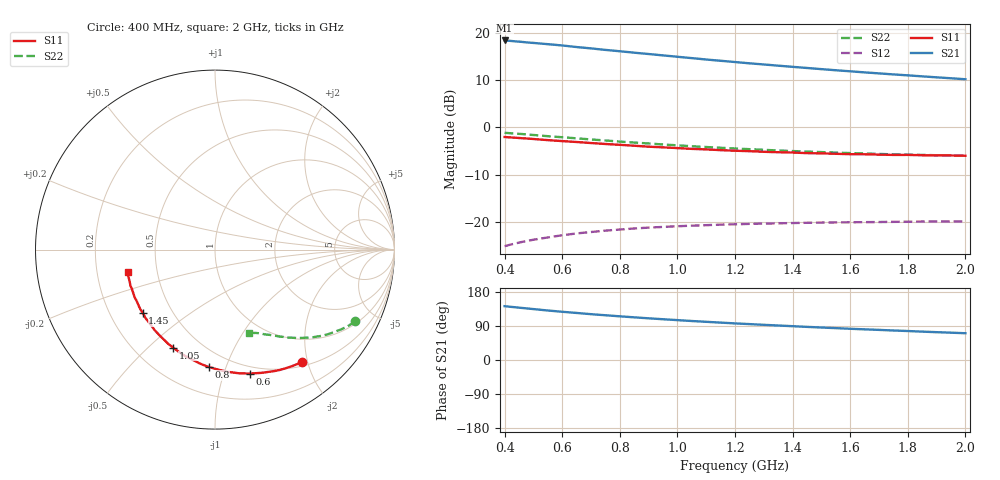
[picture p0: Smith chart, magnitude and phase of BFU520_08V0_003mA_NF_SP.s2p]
! Filename:  P:\Prog\Test\Noise\ATS_data\Testdata_Net\06 Compressed Noise after Statistics\BFU520_APG2013_37_A05_08p0V_003mA_NF_CM01_D.sf
! Date/Time: Fri 26/Apr/2013 14:13:12
! BFU520_APG2013_37_A05_08p0V_1to20mA_NF_CM01_Bias3_R.sf
! Noise Parameter Data File
! BFU520_APG2013_37_A05_08p0V_1to20mA_NF_CM01
! Date/time: Tue Apr 23 18:16:22 2013
! VAR V_out= 8.000000
! VAR I_out= 2.995000
! VAR V_in= 0.812300
! VAR I_in= 0.032505
! Device data file deembeded for feedlines and parallel
! Original file: \06 Compressed Noise after Statistics\BFU520_APG2013_37_A05_08p0V_003mA_NF_CM01_R.sf
! Feed-files: PR047V01_250413_Feed1.s2p, PR047V01_250413_Feed2.s2p
! Parallel-file: PR047V01_250413_Par.s2p
# MHz S MA R 50
!  Freq-MHz  S11-mag  S11-arg  S21-mag  S21-arg  S12-mag  S12-arg  S22-mag  S22-arg
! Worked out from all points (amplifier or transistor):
!   37 points, 400 MHz to 2 GHz, reference 50 ohm
!   highest |S21| = 18.4 dB at 400 MHz (marker M1)
!   |S21| within 3 dB of that: start of sweep to 922.9 MHz
!   unconditionally stable (mu >= 1): nowhere
!   at 500 MHz: K = 0.21, MSG = 20.8 dB, |S12| = -23.7 dB
!   at 1.1 GHz: K = 0.45, MSG = 17.5 dB, |S12| = -20.7 dB
!   at 2 GHz: K = 0.80, MSG = 15.0 dB, |S12| = -19.9 dB
!   lowest NFmin = 0.58 dB at 420 MHz
!   S11 on the Smith chart (normalised r, x): 400 MHz: 0.57, -1.91; 600 MHz: 0.43, -1.23; 800 MHz: 0.38, -0.87; 1.05 GHz: 0.36, -0.60; 1.45 GHz: 0.34, -0.34; 2 GHz: 0.34, -0.11
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400  0.7922 -52.2  8.303 142.0  0.05561 60.9  0.8773 -27.1
440  0.7773 -56.9  8.116 138.9  0.05965 58.6  0.8599 -29.2
500  0.7546 -63.6  7.819 134.4  0.06506 55.4  0.8324 -32.2
550  0.7343 -69.2  7.586 130.6  0.06879 52.9  0.8082 -34.6
600  0.7173 -74.3  7.351 127.3  0.07254 50.7  0.7878 -36.7
650  0.7015 -79.2  7.073 124.1  0.07582 48.6  0.767 -38.7
700  0.6843 -84.1  6.846 120.9  0.07846 46.7  0.7463 -40.5
750  0.6685 -88.6  6.598 118.1  0.08114 44.9  0.728 -42.2
800  0.6549 -93.2  6.385 115.3  0.08337 43.4  0.7086 -43.8
850  0.6406 -97.5  6.169 112.6  0.08547 41.8  0.6922 -45.3
900  0.626 -101.6  5.967 110.0  0.08739 40.4  0.6769 -46.8
950  0.6158 -105.6  5.774 107.6  0.08882 39.1  0.6602 -48.1
1050  0.5934 -113.1  5.402 102.9  0.09155 36.9  0.633 -50.7
1100  0.5859 -116.6  5.224 100.8  0.09268 36.0  0.6209 -51.6
1200  0.5673 -123.6  4.913 96.6  0.09471 34.2  0.5986 -53.9
1300  0.5527 -129.8  4.629 92.8  0.09636 32.8  0.5797 -55.8
1450  0.535 -138.9  4.25 87.4  0.09825 31.1  0.5557 -58.5
1500  0.5321 -141.6  4.133 85.7  0.09869 30.6  0.5489 -59.4
1600  0.5217 -147.1  3.918 82.4  0.09946 29.8  0.5356 -61.1
1750  0.5122 -154.6  3.634 77.8  0.1005 29.0  0.5195 -63.5
1850  0.5082 -159.2  3.466 74.8  0.1012 28.6  0.5127 -65.0
2000  0.5017 -165.7  3.23 70.7  0.1015 28.3  0.5018 -67.5
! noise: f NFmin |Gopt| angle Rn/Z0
400  0.6287  0.3788  16.87  0.1792
460  0.6065  0.344  24.97  0.1556
600  0.6312  0.3652  26.14  0.1814
800  0.6872  0.3485  42.73  0.1508
1000  0.7289  0.346  52.73  0.1441
1200  0.7523  0.3414  62.41  0.1431
1400  0.7644  0.3318  73.98  0.134
1600  0.8159  0.3076  85  0.1197
1800  0.7338  0.2998  101.4  0.0992
2000  0.9072  0.2831  109.9  0.1114
